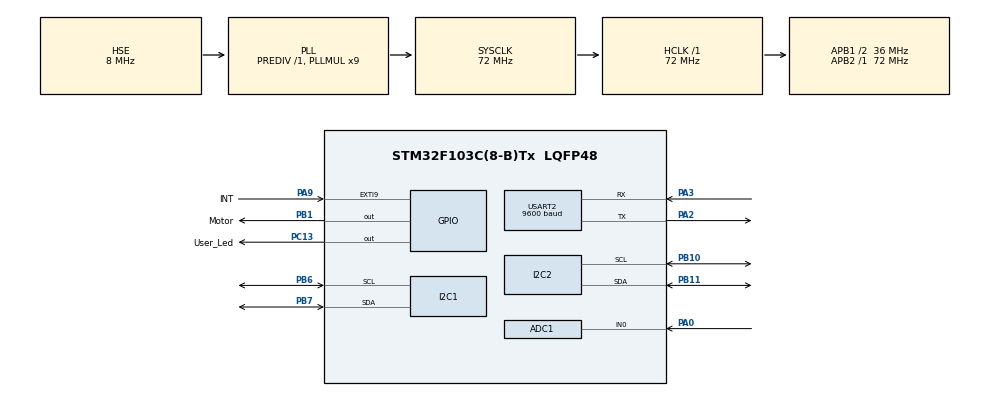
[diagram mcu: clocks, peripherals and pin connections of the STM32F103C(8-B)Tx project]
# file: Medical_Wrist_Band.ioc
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ADC1.Channel-2\#ChannelRegularConversion=ADC_CHANNEL_0
ADC1.ContinuousConvMode=DISABLE
ADC1.NbrOfConversionFlag=1
ADC1.Rank-2\#ChannelRegularConversion=1
ADC1.SamplingTime-2\#ChannelRegularConversion=ADC_SAMPLETIME_55CYCLES_5
ADC1.master=1
I2C1.I2C_Mode=I2C_Fast
I2C2.I2C_Mode=I2C_Fast
Mcu.Family=STM32F1
Mcu.Name=STM32F103C(8-B)Tx
Mcu.Package=LQFP48
NVIC.EXTI9_5_IRQn=true\:0\:0\:false\:false\:true\:true\:true
NVIC.PriorityGroup=NVIC_PRIORITYGROUP_4
NVIC.TIM2_IRQn=true\:0\:0\:false\:false\:true\:true\:true
NVIC.TIM3_IRQn=true\:0\:0\:false\:false\:true\:true\:true
NVIC.USART2_IRQn=true\:0\:0\:false\:false\:true\:true\:true
PA0-WKUP.Signal=ADCx_IN0
PA13.Mode=Serial_Wire
PA13.Signal=SYS_JTMS-SWDIO
PA14.Mode=Serial_Wire
PA14.Signal=SYS_JTCK-SWCLK
PA2.Mode=Asynchronous
PA2.Signal=USART2_TX
PA3.Mode=Asynchronous
PA3.Signal=USART2_RX
PA9.GPIO_Label=INT
PA9.GPIO_ModeDefaultEXTI=GPIO_MODE_IT_FALLING
PA9.Signal=GPXTI9
PB1.GPIO_Label=Motor
PB1.PinState=GPIO_PIN_SET
PB1.Signal=GPIO_Output
PB10.GPIO_Pu=GPIO_PULLUP
PB10.Mode=I2C
PB10.Signal=I2C2_SCL
PB11.GPIO_Pu=GPIO_PULLUP
PB11.Mode=I2C
PB11.Signal=I2C2_SDA
PB6.GPIO_Pu=GPIO_PULLUP
PB6.Mode=I2C
PB6.Signal=I2C1_SCL
PB7.GPIO_Pu=GPIO_PULLUP
PB7.Mode=I2C
PB7.Signal=I2C1_SDA
PC13-TAMPER-RTC.GPIO_Label=User_Led
PC13-TAMPER-RTC.Signal=GPIO_Output
PD0-OSC_IN.Mode=HSE-External-Oscillator
PD0-OSC_IN.Signal=RCC_OSC_IN
PD1-OSC_OUT.Mode=HSE-External-Oscillator
PD1-OSC_OUT.Signal=RCC_OSC_OUT
ProjectManager.HeapSize=0x200
ProjectManager.StackSize=0x400
ProjectManager.TargetToolchain=STM32CubeIDE
RCC.ADCPresc=RCC_ADCPCLK2_DIV6
RCC.AHBFreq_Value=72000000
RCC.APB1CLKDivider=RCC_HCLK_DIV2
RCC.APB1Freq_Value=36000000
RCC.APB1TimFreq_Value=72000000
RCC.APB2Freq_Value=72000000
RCC.APB2TimFreq_Value=72000000
RCC.HCLKFreq_Value=72000000
RCC.PLLMUL=RCC_PLL_MUL9
RCC.PLLSourceVirtual=RCC_PLLSOURCE_HSE
RCC.SYSCLKFreq_VALUE=72000000
RCC.SYSCLKSource=RCC_SYSCLKSOURCE_PLLCLK
RCC.USBFreq_Value=72000000
SH.ADCx_IN0.0=ADC1_IN0,IN0
TIM2.Period=2400
TIM2.Prescaler=1000-1
TIM3.Period=4000
TIM3.Prescaler=1000-1
USART2.BaudRate=9600
USART2.VirtualMode=VM_ASYNC
VP_TIM2_VS_ClockSourceINT.Mode=Internal
VP_TIM3_VS_ClockSourceINT.Mode=Internal
board=custom

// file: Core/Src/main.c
/* USER CODE BEGIN Header */
/**
  ******************************************************************************
  * @file           : main.c
  * @brief          : Main program body
  ******************************************************************************
  * @attention
  *
  * <h2><center>&copy; Copyright (c) 2021 STMicroelectronics.
  * All rights reserved.</center></h2>
  *
  * This software component is licensed by ST under BSD 3-Clause license,
  * the "License"; You may not use this file except in compliance with the
  * License. You may obtain a copy of the License at:
  *                        opensource.org/licenses/BSD-3-Clause
  *
  ******************************************************************************
  */
/* USER CODE END Header */
#include "main.h"

/* USER CODE BEGIN Includes */

//TODO use a infinite loop till user enters the HR or SPO2 mode

#include "fonts.h"
#include "ssd1306.h"
#include "stdio.h"
#include "string.h"
#include "MAX30102.h"
//#include <stdbool.h>
/* USER CODE END Includes */

/* USER CODE BEGIN PM */

#define NUM_BAT_ADC_READ_AVG		50
// Minimum allowed voltage for the battery
// to function properly proportional to NUM_BAT_ADC_READ_AVG
// which is equal to 3.6 * NUM_BAT_ADC_READ_AVG
#define MIN_ALLOWED_VOLTAGE_SUM 	180	//(3.6 * NUM_BAT_ADC_READ_AVG)
#define SPO2ORHR_HR					'h'
#define SPO2ORHR_SPO2				's'

#define maxSampleCheck				30
#define HRMAX						115
#define HRMIN						70
#define SPO2MAX						100
#define SPO2MIN						95

#define TEST_Pin GPIO_PIN_15
#define TEST_GPIO_Port GPIOB
#define INT_Pin GPIO_PIN_9
#define INT_GPIO_Port GPIOA
#define INT_EXTI_IRQn EXTI9_5_IRQn

/* USER CODE END PM */

ADC_HandleTypeDef hadc1;

I2C_HandleTypeDef hi2c1;
I2C_HandleTypeDef hi2c2;

TIM_HandleTypeDef htim2;
TIM_HandleTypeDef htim3;

UART_HandleTypeDef huart2;

void SystemClock_Config(void);
static void MX_GPIO_Init(void);
static void MX_I2C1_Init(void);
static void MX_TIM2_Init(void);
static void MX_ADC1_Init(void);
static void MX_USART2_UART_Init(void);
static void MX_I2C2_Init(void);
static void MX_TIM3_Init(void);
/* USER CODE BEGIN PFP */

float _BatteryVoltage(void);
void _BluetoothSend(uint8_t value, uint8_t SPO2_OR_HR);
void _Show_HeartRate_SPO2(uint8_t value, uint8_t SPO2_OR_HR);
char _BluetoothReceive(void);
void _BootUpSequence(void);
void _Check_HR_SPO2(uint8_t data, char selectedMode);

/* USER CODE END PFP */

/* USER CODE BEGIN 0 */

// counter for battery ADC value reading
uint8_t _counter = 0;

// Average battery voltage
float _BAT_Voltage_AVG = 0.00;

// 500 ms interrupt
uint8_t _timer_3_interrupt = 0;

// 300 ms interrupt
uint8_t _timer_2_interrupt = 0;

// User heart rate
uint8_t _heartRate = 0;

// User SPO2
uint8_t _SPO2 = 0;

// The initiated values to warn the user
uint8_t dangerZoneDataSum = 0;
uint8_t dangerZoneDataCnt = 0;

// User input buffer
char blueToothInput;

/* USER CODE END 0 */

int main(void)
{

  /* MCU Configuration--------------------------------------------------------*/

  /* Reset of all peripherals, Initializes the Flash interface and the Systick. */
  HAL_Init();

  /* Configure the system clock */
  SystemClock_Config();

  /* Initialize all configured peripherals */
  MX_GPIO_Init();
  MX_I2C1_Init();
  MX_TIM2_Init();
  MX_ADC1_Init();
  MX_USART2_UART_Init();
  MX_I2C2_Init();
  MX_TIM3_Init();
  /* USER CODE BEGIN 2 */

  SSD1306_Init();
  HAL_TIM_Base_Start_IT(&htim2);
  HAL_TIM_Base_Start_IT(&htim3);
  Max30102_Init(&hi2c2);

  // Boot up sequence
    _BootUpSequence();

  // Refresh the OLED display
	SSD1306_Clear();
	SSD1306_UpdateScreen();

  // Resetting the state of the vibrarion motor
	HAL_GPIO_WritePin(Motor_GPIO_Port, Motor_Pin, GPIO_PIN_RESET);

  /* USER CODE END 2 */

  /* Infinite loop */
  /* USER CODE BEGIN WHILE */
  while (1)
  {
	 Max30102_Task();

	 if(_timer_3_interrupt)
	 {
		 if(blueToothInput == SPO2ORHR_HR){
			 _heartRate = (uint8_t)Max30102_GetHeartRate();

			 // Sending the heart rate value with bluetooth
			 _BluetoothSend(_heartRate, SPO2ORHR_HR);

			 // Showing heart rate on the display
			 _Show_HeartRate_SPO2(_heartRate, SPO2ORHR_HR);

			 // Checking HR and SPO2
			 _Check_HR_SPO2(_heartRate, SPO2ORHR_HR);

			 HAL_GPIO_TogglePin(User_Led_GPIO_Port, User_Led_Pin);
		 }

		 _timer_3_interrupt = 0;
	 }

	 if(_timer_2_interrupt)
	 {
	  /*
	   * Battery voltage exhibition section
	   */
	  // Preparing to convert the float value into string to be shown on display
	  char voltageText[10];
	  float BAT_Voltage = _BatteryVoltage();
	  _BAT_Voltage_AVG += BAT_Voltage;
	  _counter++;

	  if(_counter == NUM_BAT_ADC_READ_AVG)
	  {
		  _BAT_Voltage_AVG /= _counter;
		  sprintf(voltageText, "Bat_Vol: %.2f", _BAT_Voltage_AVG);
		  // Printing the battery voltage value on display
		  SSD1306_SetPosition(0, 0);
		  SSD1306_PrintString(voltageText, &Font_7x10, SSD1306_COLOR_WHITE);
		  SSD1306_UpdateScreen();

		  // Checking if the battery voltage is low
		  if(_BAT_Voltage_AVG <= MIN_ALLOWED_VOLTAGE_SUM){

			  // Printing the warning message
			  //SSD1306_Clear();
			  SSD1306_SetPosition(0, 90);
			  SSD1306_PrintString("Low BAT.", &Font_7x10, SSD1306_COLOR_WHITE);
			  SSD1306_UpdateScreen();
		  }

		  _counter = 0;
	  }

	  if(blueToothInput == SPO2ORHR_SPO2){

		 _SPO2 = (uint8_t) Max30102_GetSpO2Value();

		 // Sending the heart rate value with bluetooth
		 _BluetoothSend(_SPO2, SPO2ORHR_SPO2);

		 // Showing heart rate on the display
		 _Show_HeartRate_SPO2(_SPO2, SPO2ORHR_SPO2);

		 // Checking HR and SPO2
		 _Check_HR_SPO2(_SPO2, SPO2ORHR_SPO2);
	  }

	  _timer_2_interrupt = 0;
	 }
    /* USER CODE END WHILE */

 }
}

void SystemClock_Config(void)
{
  RCC_OscInitTypeDef RCC_OscInitStruct = {0};
  RCC_ClkInitTypeDef RCC_ClkInitStruct = {0};
  RCC_PeriphCLKInitTypeDef PeriphClkInit = {0};

  /** Initializes the RCC Oscillators according to the specified parameters
  * in the RCC_OscInitTypeDef structure.
  */
  RCC_OscInitStruct.OscillatorType = RCC_OSCILLATORTYPE_HSE;
  RCC_OscInitStruct.HSEState = RCC_HSE_ON;
  RCC_OscInitStruct.HSEPredivValue = RCC_HSE_PREDIV_DIV1;
  RCC_OscInitStruct.HSIState = RCC_HSI_ON;
  RCC_OscInitStruct.PLL.PLLState = RCC_PLL_ON;
  RCC_OscInitStruct.PLL.PLLSource = RCC_PLLSOURCE_HSE;
  RCC_OscInitStruct.PLL.PLLMUL = RCC_PLL_MUL9;
  if (HAL_RCC_OscConfig(&RCC_OscInitStruct) != HAL_OK)
  {
    Error_Handler();
  }
  /** Initializes the CPU, AHB and APB buses clocks
  */
  RCC_ClkInitStruct.ClockType = RCC_CLOCKTYPE_HCLK|RCC_CLOCKTYPE_SYSCLK
                              |RCC_CLOCKTYPE_PCLK1|RCC_CLOCKTYPE_PCLK2;
  RCC_ClkInitStruct.SYSCLKSource = RCC_SYSCLKSOURCE_PLLCLK;
  RCC_ClkInitStruct.AHBCLKDivider = RCC_SYSCLK_DIV1;
  RCC_ClkInitStruct.APB1CLKDivider = RCC_HCLK_DIV2;
  RCC_ClkInitStruct.APB2CLKDivider = RCC_HCLK_DIV1;

  if (HAL_RCC_ClockConfig(&RCC_ClkInitStruct, FLASH_LATENCY_2) != HAL_OK)
  {
    Error_Handler();
  }
  PeriphClkInit.PeriphClockSelection = RCC_PERIPHCLK_ADC;
  PeriphClkInit.AdcClockSelection = RCC_ADCPCLK2_DIV6;
  if (HAL_RCCEx_PeriphCLKConfig(&PeriphClkInit) != HAL_OK)
  {
    Error_Handler();
  }
}

static void MX_ADC1_Init(void)
{

  ADC_ChannelConfTypeDef sConfig = {0};

  /** Common config
  */
  hadc1.Instance = ADC1;
  hadc1.Init.ScanConvMode = ADC_SCAN_DISABLE;
  hadc1.Init.ContinuousConvMode = DISABLE;
  hadc1.Init.DiscontinuousConvMode = DISABLE;
  hadc1.Init.ExternalTrigConv = ADC_SOFTWARE_START;
  hadc1.Init.DataAlign = ADC_DATAALIGN_RIGHT;
  hadc1.Init.NbrOfConversion = 1;
  if (HAL_ADC_Init(&hadc1) != HAL_OK)
  {
    Error_Handler();
  }
  /** Configure Regular Channel
  */
  sConfig.Channel = ADC_CHANNEL_0;
  sConfig.Rank = ADC_REGULAR_RANK_1;
  sConfig.SamplingTime = ADC_SAMPLETIME_55CYCLES_5;
  if (HAL_ADC_ConfigChannel(&hadc1, &sConfig) != HAL_OK)
  {
    Error_Handler();
  }

}

static void MX_I2C1_Init(void)
{

  hi2c1.Instance = I2C1;
  hi2c1.Init.ClockSpeed = 400000;
  hi2c1.Init.DutyCycle = I2C_DUTYCYCLE_2;
  hi2c1.Init.OwnAddress1 = 0;
  hi2c1.Init.AddressingMode = I2C_ADDRESSINGMODE_7BIT;
  hi2c1.Init.DualAddressMode = I2C_DUALADDRESS_DISABLE;
  hi2c1.Init.OwnAddress2 = 0;
  hi2c1.Init.GeneralCallMode = I2C_GENERALCALL_DISABLE;
  hi2c1.Init.NoStretchMode = I2C_NOSTRETCH_DISABLE;
  if (HAL_I2C_Init(&hi2c1) != HAL_OK)
  {
    Error_Handler();
  }

}

static void MX_I2C2_Init(void)
{

  hi2c2.Instance = I2C2;
  hi2c2.Init.ClockSpeed = 400000;
  hi2c2.Init.DutyCycle = I2C_DUTYCYCLE_2;
  hi2c2.Init.OwnAddress1 = 0;
  hi2c2.Init.AddressingMode = I2C_ADDRESSINGMODE_7BIT;
  hi2c2.Init.DualAddressMode = I2C_DUALADDRESS_DISABLE;
  hi2c2.Init.OwnAddress2 = 0;
  hi2c2.Init.GeneralCallMode = I2C_GENERALCALL_DISABLE;
  hi2c2.Init.NoStretchMode = I2C_NOSTRETCH_DISABLE;
  if (HAL_I2C_Init(&hi2c2) != HAL_OK)
  {
    Error_Handler();
  }

}

static void MX_TIM2_Init(void)
{

  TIM_ClockConfigTypeDef sClockSourceConfig = {0};
  TIM_MasterConfigTypeDef sMasterConfig = {0};

  htim2.Instance = TIM2;
  htim2.Init.Prescaler = 1000-1;
  htim2.Init.CounterMode = TIM_COUNTERMODE_UP;
  htim2.Init.Period = 2400;
  htim2.Init.ClockDivision = TIM_CLOCKDIVISION_DIV1;
  htim2.Init.AutoReloadPreload = TIM_AUTORELOAD_PRELOAD_DISABLE;
  if (HAL_TIM_Base_Init(&htim2) != HAL_OK)
  {
    Error_Handler();
  }
  sClockSourceConfig.ClockSource = TIM_CLOCKSOURCE_INTERNAL;
  if (HAL_TIM_ConfigClockSource(&htim2, &sClockSourceConfig) != HAL_OK)
  {
    Error_Handler();
  }
  sMasterConfig.MasterOutputTrigger = TIM_TRGO_RESET;
  sMasterConfig.MasterSlaveMode = TIM_MASTERSLAVEMODE_DISABLE;
  if (HAL_TIMEx_MasterConfigSynchronization(&htim2, &sMasterConfig) != HAL_OK)
  {
    Error_Handler();
  }

}

static void MX_TIM3_Init(void)
{

  TIM_ClockConfigTypeDef sClockSourceConfig = {0};
  TIM_MasterConfigTypeDef sMasterConfig = {0};

  htim3.Instance = TIM3;
  htim3.Init.Prescaler = 1000-1;
  htim3.Init.CounterMode = TIM_COUNTERMODE_UP;
  htim3.Init.Period = 4000;
  htim3.Init.ClockDivision = TIM_CLOCKDIVISION_DIV1;
  htim3.Init.AutoReloadPreload = TIM_AUTORELOAD_PRELOAD_DISABLE;
  if (HAL_TIM_Base_Init(&htim3) != HAL_OK)
  {
    Error_Handler();
  }
  sClockSourceConfig.ClockSource = TIM_CLOCKSOURCE_INTERNAL;
  if (HAL_TIM_ConfigClockSource(&htim3, &sClockSourceConfig) != HAL_OK)
  {
    Error_Handler();
  }
  sMasterConfig.MasterOutputTrigger = TIM_TRGO_RESET;
  sMasterConfig.MasterSlaveMode = TIM_MASTERSLAVEMODE_DISABLE;
  if (HAL_TIMEx_MasterConfigSynchronization(&htim3, &sMasterConfig) != HAL_OK)
  {
    Error_Handler();
  }

}

static void MX_USART2_UART_Init(void)
{

  huart2.Instance = USART2;
  huart2.Init.BaudRate = 9600;
  huart2.Init.WordLength = UART_WORDLENGTH_8B;
  huart2.Init.StopBits = UART_STOPBITS_1;
  huart2.Init.Parity = UART_PARITY_NONE;
  huart2.Init.Mode = UART_MODE_TX_RX;
  huart2.Init.HwFlowCtl = UART_HWCONTROL_NONE;
  huart2.Init.OverSampling = UART_OVERSAMPLING_16;
  if (HAL_UART_Init(&huart2) != HAL_OK)
  {
    Error_Handler();
  }

}

static void MX_GPIO_Init(void)
{
  GPIO_InitTypeDef GPIO_InitStruct = {0};

  /* GPIO Ports Clock Enable */
  __HAL_RCC_GPIOC_CLK_ENABLE();
  __HAL_RCC_GPIOD_CLK_ENABLE();
  __HAL_RCC_GPIOA_CLK_ENABLE();
  __HAL_RCC_GPIOB_CLK_ENABLE();

  /*Configure GPIO pin Output Level */
  HAL_GPIO_WritePin(User_Led_GPIO_Port, User_Led_Pin, GPIO_PIN_RESET);

  /*Configure GPIO pin Output Level */
  HAL_GPIO_WritePin(Motor_GPIO_Port, Motor_Pin, GPIO_PIN_SET);

  /*Configure GPIO pin : User_Led_Pin */
  GPIO_InitStruct.Pin = User_Led_Pin;
  GPIO_InitStruct.Mode = GPIO_MODE_OUTPUT_PP;
  GPIO_InitStruct.Pull = GPIO_NOPULL;
  GPIO_InitStruct.Speed = GPIO_SPEED_FREQ_LOW;
  HAL_GPIO_Init(User_Led_GPIO_Port, &GPIO_InitStruct);

  /*Configure GPIO pin : Motor_Pin */
  GPIO_InitStruct.Pin = Motor_Pin;
  GPIO_InitStruct.Mode = GPIO_MODE_OUTPUT_PP;
  GPIO_InitStruct.Pull = GPIO_NOPULL;
  GPIO_InitStruct.Speed = GPIO_SPEED_FREQ_LOW;
  HAL_GPIO_Init(Motor_GPIO_Port, &GPIO_InitStruct);

  /*Configure GPIO pin : INT_Pin */
  GPIO_InitStruct.Pin = INT_Pin;
  GPIO_InitStruct.Mode = GPIO_MODE_IT_FALLING;
  GPIO_InitStruct.Pull = GPIO_NOPULL;
  HAL_GPIO_Init(INT_GPIO_Port, &GPIO_InitStruct);

  /* EXTI interrupt init*/
  HAL_NVIC_SetPriority(EXTI9_5_IRQn, 0, 0);
  HAL_NVIC_EnableIRQ(EXTI9_5_IRQn);

}

/* USER CODE BEGIN 4 */

// Boot up sequence
void _BootUpSequence(void){

	SSD1306_SetPosition(0, 0);
	SSD1306_PrintString("choose HR or SPO2", &Font_7x10, SSD1306_COLOR_WHITE);
	SSD1306_UpdateScreen();

	//blueToothInput = _BluetoothReceive();

	// Waiting till the user chooses the mode
	while(1){
		// Reading user's choice of HR or SPO2
		blueToothInput = _BluetoothReceive();
		if((blueToothInput == SPO2ORHR_HR) || (blueToothInput == SPO2ORHR_SPO2))
			break;
	}
}

// receiving the user choice of HR or SPO2
char _BluetoothReceive(void){
	char value;
	HAL_UART_Receive(&huart2, &value, sizeof(value), 5000);
	return value;
}

// Get and show heart rate and blood oxygen level
void _Show_HeartRate_SPO2(uint8_t value, uint8_t SPO2_OR_HR){

	// if SPO2 is selected
	if(SPO2_OR_HR == SPO2ORHR_SPO2){
		char _valueText[9];
		sprintf(_valueText, "SPO2:   %3d", value);
		SSD1306_SetPosition(0, 25);
		SSD1306_PrintString(_valueText, &Font_11x18, SSD1306_COLOR_WHITE);
		SSD1306_UpdateScreen();
	}
	// if HR is selected
	else if(SPO2_OR_HR == SPO2ORHR_HR){
		char _valueText[9];
		sprintf(_valueText, "BPM:    %3d", value);
		SSD1306_SetPosition(0, 25);
		SSD1306_PrintString(_valueText, &Font_11x18, SSD1306_COLOR_WHITE);
		SSD1306_UpdateScreen();
	}
}

// Battery voltage reading
float _BatteryVoltage(void){
	uint16_t rawAnalogVal = 0;
	float batteryVoltage = 0.0;

	// Initializing the ADC
	HAL_ADC_Start(&hadc1);
	HAL_ADC_PollForConversion(&hadc1, 100);

	// Reading ADC Value
	// NOTE: it is a 12-bit ADC
	rawAnalogVal = HAL_ADC_GetValue(&hadc1);

	// Mapping the ADC value to readable voltage
	// NOTE: the value is multiplied by 2 because of the voltage divider circuit
	// which divides the voltage by 2
	batteryVoltage = (rawAnalogVal * 2  / 4095.00) * 3.30;
	// Removing some inefficiency
	//batteryVoltage += 0.1;
	HAL_ADC_Stop(&hadc1);
	return batteryVoltage;
}

void _BluetoothSend(uint8_t value, uint8_t SPO2_OR_HR){
	char UartBuffer[8];
	//uint8_t val = (uint8_t)value;
	if(SPO2_OR_HR == SPO2ORHR_HR)
	{
		sprintf(UartBuffer, "%d",  value);
		HAL_UART_Transmit(&huart2, (uint8_t*)UartBuffer, strlen(UartBuffer), 100);
		HAL_Delay(100);
	}

	else if(SPO2_OR_HR == SPO2ORHR_SPO2){
		sprintf(UartBuffer, "%d", value);
		HAL_UART_Transmit(&huart2, (uint8_t*)UartBuffer, strlen(UartBuffer), 100);
		HAL_Delay(100);
	}
}

void HAL_GPIO_EXTI_Callback(uint16_t GPIO_Pin) {
	if (GPIO_Pin == INT_Pin) {
		Max30102_InterruptCallback();
	}
}

// Timer_2 ISR
void HAL_TIM_PeriodElapsedCallback(TIM_HandleTypeDef *htim){
  if(htim->Instance == TIM2)
	  _timer_2_interrupt = 1;
  else if(htim->Instance == TIM3)
	  _timer_3_interrupt = 1;
}

// CHecking the HR and SPO2
void _Check_HR_SPO2(uint8_t data, char selectedMode){
        //heart rate has been selected
        if(selectedMode == SPO2ORHR_HR) {
            // heart rate exceeds the natural level
            if (data > HRMAX) {
                dangerZoneDataCnt++;
                if (dangerZoneDataCnt < maxSampleCheck) {
                    dangerZoneDataSum += data;
                }
                if (dangerZoneDataSum > HRMAX * maxSampleCheck) {
                	// Setup the vibration motor
                	HAL_GPIO_WritePin(Motor_GPIO_Port, Motor_Pin, GPIO_PIN_SET);
                }
            }

            // heart rate is less than natural level minimum
            else if (data < HRMIN) {
                dangerZoneDataCnt++;
                if (dangerZoneDataCnt < maxSampleCheck) {
                    dangerZoneDataSum += data;
                }
                if (dangerZoneDataSum < HRMIN * maxSampleCheck) {
                    // Setup the vibration motor
                	HAL_GPIO_WritePin(Motor_GPIO_Port, Motor_Pin, GPIO_PIN_SET);
                }
            }
            else{
                dangerZoneDataCnt = 0;
            }
        }
            // oxygen level has been selected
            else if(selectedMode == SPO2ORHR_SPO2){
                // oxygen level exceeds the natural level
                if(data > SPO2MAX){
                    dangerZoneDataCnt++;
                    if (dangerZoneDataCnt < maxSampleCheck){
                        dangerZoneDataSum += data;
                    }
                    if (dangerZoneDataSum > SPO2MAX * maxSampleCheck){
                    	// Setup the vibration motor
                    	HAL_GPIO_WritePin(Motor_GPIO_Port, Motor_Pin, GPIO_PIN_SET);
                    }
                }

                // oxygen level is less than natural level minimum
                else if(data < SPO2MIN) {
                    dangerZoneDataCnt++;
                    if (dangerZoneDataCnt < maxSampleCheck) {
                        dangerZoneDataSum += data;
                    }
                    if (dangerZoneDataSum < SPO2MIN * maxSampleCheck) {
                    	// Setup the vibration motor
                    	HAL_GPIO_WritePin(Motor_GPIO_Port, Motor_Pin, GPIO_PIN_SET);
                    }
                }
                else{
                    dangerZoneDataCnt = 0;
                }
        }
    }

/* USER CODE END 4 */

void Error_Handler(void)
{
  __disable_irq();
  while (1)
  {
  }
}

/************************ (C) COPYRIGHT STMicroelectronics *****END OF FILE****/
